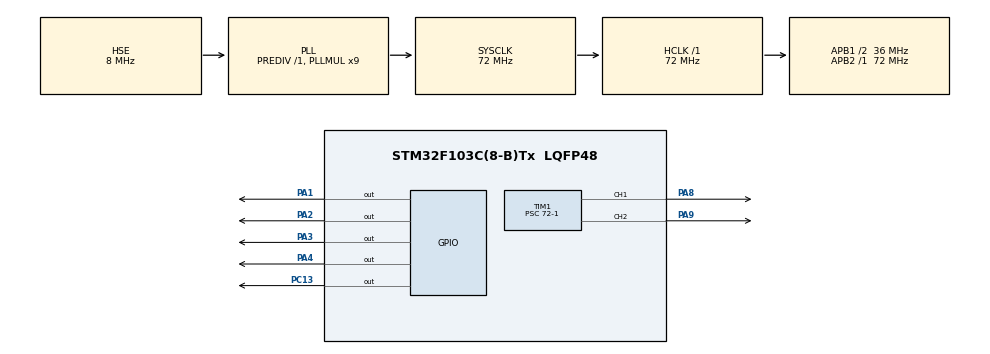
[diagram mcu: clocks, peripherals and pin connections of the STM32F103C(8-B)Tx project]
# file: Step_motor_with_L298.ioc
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Mcu.Family=STM32F1
Mcu.Name=STM32F103C(8-B)Tx
Mcu.Package=LQFP48
NVIC.PriorityGroup=NVIC_PRIORITYGROUP_4
PA1.Signal=GPIO_Output
PA13.Mode=Serial_Wire
PA13.Signal=SYS_JTMS-SWDIO
PA14.Mode=Serial_Wire
PA14.Signal=SYS_JTCK-SWCLK
PA2.Signal=GPIO_Output
PA3.Signal=GPIO_Output
PA4.Signal=GPIO_Output
PA8.Signal=S_TIM1_CH1
PA9.Signal=S_TIM1_CH2
PC13-TAMPER-RTC.Signal=GPIO_Output
PD0-OSC_IN.Mode=HSE-External-Oscillator
PD0-OSC_IN.Signal=RCC_OSC_IN
PD1-OSC_OUT.Mode=HSE-External-Oscillator
PD1-OSC_OUT.Signal=RCC_OSC_OUT
ProjectManager.HeapSize=0x200
ProjectManager.StackSize=0x400
ProjectManager.TargetToolchain=MDK-ARM V5.32
RCC.AHBFreq_Value=72000000
RCC.APB1CLKDivider=RCC_HCLK_DIV2
RCC.APB1Freq_Value=36000000
RCC.APB1TimFreq_Value=72000000
RCC.APB2Freq_Value=72000000
RCC.APB2TimFreq_Value=72000000
RCC.HCLKFreq_Value=72000000
RCC.PLLMUL=RCC_PLL_MUL9
RCC.PLLSourceVirtual=RCC_PLLSOURCE_HSE
RCC.SYSCLKFreq_VALUE=72000000
RCC.SYSCLKSource=RCC_SYSCLKSOURCE_PLLCLK
RCC.USBFreq_Value=72000000
SH.S_TIM1_CH1.0=TIM1_CH1,PWM Generation1 CH1
SH.S_TIM1_CH2.0=TIM1_CH2,PWM Generation2 CH2
TIM1.Channel-PWM\ Generation1\ CH1=TIM_CHANNEL_1
TIM1.Channel-PWM\ Generation2\ CH2=TIM_CHANNEL_2
TIM1.Period=0xffff - 1
TIM1.Prescaler=72-1
TIM2.Period=0xffff - 1
TIM2.Prescaler=72-1
VP_TIM1_VS_ClockSourceINT.Mode=Internal
VP_TIM2_VS_ClockSourceINT.Mode=Internal
board=custom

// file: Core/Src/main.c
/* USER CODE BEGIN Header */
/**
  ******************************************************************************
  * @file           : main.c
  * @brief          : Main program body
  ******************************************************************************
  * @attention
  *
  * Copyright (c) 2024 STMicroelectronics.
  * All rights reserved.
  *
  * This software is licensed under terms that can be found in the LICENSE file
  * in the root directory of this software component.
  * If no LICENSE file comes with this software, it is provided AS-IS.
  *
  ******************************************************************************
  */
/* USER CODE END Header */
#include "main.h"

/* USER CODE BEGIN PM */
#define StepPerRev 200
/* USER CODE END PM */

TIM_HandleTypeDef htim1;
TIM_HandleTypeDef htim2;

void SystemClock_Config(void);
static void MX_GPIO_Init(void);
static void MX_TIM1_Init(void);
static void MX_TIM2_Init(void);

/* USER CODE BEGIN 0 */
#define IN1_PIN GPIO_PIN_4
#define IN1_PORT GPIOA
#define IN2_PIN GPIO_PIN_3
#define IN2_PORT GPIOA
#define IN3_PIN GPIO_PIN_2
#define IN3_PORT GPIOA
#define IN4_PIN GPIO_PIN_1
#define IN4_PORT GPIOA
const uint8_t STEP_SEQUENCE[] = {0x0A, 0x06, 0x05, 0x09};
uint32_t micro_step_arry_1[8] = {20,38,56,70,83,92,98,100};
														  //95.6   98   99.5   100
uint32_t micro_step_arry_2[8] = {98,92,83,70,56,38,20,0};
															 //56    47    38    29    20    9.8  0
uint8_t dem = 0;
void delay (uint16_t us)
{
	__HAL_TIM_SET_COUNTER(&htim2, 0);
	while (__HAL_TIM_GET_COUNTER(&htim2) < us);
}
void control_pwm(TIM_HandleTypeDef *timer, uint32_t channel,
                uint32_t *pwm_values, float delay_time) {
    for(int i = 0; i < 8; i++) {
        __HAL_TIM_SET_COMPARE(timer, channel, pwm_values[i]);
        __HAL_TIM_SET_COUNTER(&htim1, 0);
        while(__HAL_TIM_GET_COUNTER(&htim1) < delay_time) {}
    }
}
/*-------------------------Set speed for motor--------------------------------------*/
void stepper_set_rpm (int rpm)
{
	delay(60000000/StepPerRev/rpm);
}
void stepper_half_set_rpm (int rpm)
{
	delay(60000000/(StepPerRev*2)/rpm);
}
/*-------------------------Set step---------------------------------------*/
void stepper_full_drive_1phaON (int step)
{
	__HAL_TIM_SET_COMPARE(&htim1, TIM_CHANNEL_2, 100);
  __HAL_TIM_SET_COMPARE(&htim1, TIM_CHANNEL_1, 100);
	switch (step)
	{
		case 0:
			HAL_GPIO_WritePin(IN1_PORT, IN1_PIN, GPIO_PIN_SET);   // IN1
			HAL_GPIO_WritePin(IN2_PORT, IN2_PIN, GPIO_PIN_RESET); // IN2
			HAL_GPIO_WritePin(IN3_PORT, IN3_PIN, GPIO_PIN_RESET); // IN3
			HAL_GPIO_WritePin(IN4_PORT, IN4_PIN, GPIO_PIN_RESET); // IN4
			break;
		case 1:
			HAL_GPIO_WritePin(IN1_PORT, IN1_PIN, GPIO_PIN_RESET); // IN1
			HAL_GPIO_WritePin(IN2_PORT, IN2_PIN, GPIO_PIN_RESET); // IN2
			HAL_GPIO_WritePin(IN3_PORT, IN3_PIN, GPIO_PIN_SET);   // IN3
			HAL_GPIO_WritePin(IN4_PORT, IN4_PIN, GPIO_PIN_RESET); // IN4
			break;
		case 2:
			HAL_GPIO_WritePin(IN1_PORT, IN1_PIN, GPIO_PIN_RESET); // IN1
			HAL_GPIO_WritePin(IN2_PORT, IN2_PIN, GPIO_PIN_SET); // IN2
			HAL_GPIO_WritePin(IN3_PORT, IN3_PIN, GPIO_PIN_RESET);   // IN3
			HAL_GPIO_WritePin(IN4_PORT, IN4_PIN, GPIO_PIN_RESET); // IN4
			break;
		case 3:
			HAL_GPIO_WritePin(IN1_PORT, IN1_PIN, GPIO_PIN_RESET); // IN1
			HAL_GPIO_WritePin(IN2_PORT, IN2_PIN, GPIO_PIN_RESET); // IN2
			HAL_GPIO_WritePin(IN3_PORT, IN3_PIN, GPIO_PIN_RESET); // IN3
			HAL_GPIO_WritePin(IN4_PORT, IN4_PIN, GPIO_PIN_SET);   // IN4
			break;
	}
}
void stepper_full_drive_2phaON (int step)
{
	__HAL_TIM_SET_COMPARE(&htim1, TIM_CHANNEL_2, 100);
  __HAL_TIM_SET_COMPARE(&htim1, TIM_CHANNEL_1, 100);
	switch (step){
		case 0:
			HAL_GPIO_WritePin(IN1_PORT, IN1_PIN, GPIO_PIN_SET);   // IN1
			HAL_GPIO_WritePin(IN2_PORT, IN2_PIN, GPIO_PIN_RESET); // IN2
			HAL_GPIO_WritePin(IN3_PORT, IN3_PIN, GPIO_PIN_SET);   // IN3
			HAL_GPIO_WritePin(IN4_PORT, IN4_PIN, GPIO_PIN_RESET); // IN4
			break;
		case 1:
			HAL_GPIO_WritePin(IN1_PORT, IN1_PIN, GPIO_PIN_RESET); // IN1
			HAL_GPIO_WritePin(IN2_PORT, IN2_PIN, GPIO_PIN_SET);   // IN2
			HAL_GPIO_WritePin(IN3_PORT, IN3_PIN, GPIO_PIN_SET);   // IN3
			HAL_GPIO_WritePin(IN4_PORT, IN4_PIN, GPIO_PIN_RESET); // IN4
			break;
		case 2:
			HAL_GPIO_WritePin(IN1_PORT, IN1_PIN, GPIO_PIN_RESET); // IN1
			HAL_GPIO_WritePin(IN2_PORT, IN2_PIN, GPIO_PIN_SET);   // IN2
			HAL_GPIO_WritePin(IN3_PORT, IN3_PIN, GPIO_PIN_RESET); // IN3
			HAL_GPIO_WritePin(IN4_PORT, IN4_PIN, GPIO_PIN_SET); // IN4
			break;
		case 3:
			HAL_GPIO_WritePin(IN1_PORT, IN1_PIN, GPIO_PIN_SET);   // IN1
			HAL_GPIO_WritePin(IN2_PORT, IN2_PIN, GPIO_PIN_RESET); // IN2
			HAL_GPIO_WritePin(IN3_PORT, IN3_PIN, GPIO_PIN_RESET); // IN3
			HAL_GPIO_WritePin(IN4_PORT, IN4_PIN, GPIO_PIN_SET);   // IN4
			break;
	}
}
void stepper_half_drive (int step)
{
	__HAL_TIM_SET_COMPARE(&htim1, TIM_CHANNEL_2, 100);
  __HAL_TIM_SET_COMPARE(&htim1, TIM_CHANNEL_1, 100);
	switch (step){
		case 0:
			HAL_GPIO_WritePin(IN1_PORT, IN1_PIN, GPIO_PIN_SET);   // IN1
			HAL_GPIO_WritePin(IN2_PORT, IN2_PIN, GPIO_PIN_RESET); // IN2
			HAL_GPIO_WritePin(IN3_PORT, IN3_PIN, GPIO_PIN_RESET); // IN3
			HAL_GPIO_WritePin(IN4_PORT, IN4_PIN, GPIO_PIN_RESET); // IN4
			break;
		case 1:
			HAL_GPIO_WritePin(IN1_PORT, IN1_PIN, GPIO_PIN_SET);   // IN1
			HAL_GPIO_WritePin(IN2_PORT, IN2_PIN, GPIO_PIN_RESET); // IN2
			HAL_GPIO_WritePin(IN3_PORT, IN3_PIN, GPIO_PIN_SET);   // IN3
			HAL_GPIO_WritePin(IN4_PORT, IN4_PIN, GPIO_PIN_RESET); // IN4
			break;
		case 2:
			HAL_GPIO_WritePin(IN1_PORT, IN1_PIN, GPIO_PIN_RESET); // IN1
			HAL_GPIO_WritePin(IN2_PORT, IN2_PIN, GPIO_PIN_RESET); // IN2
			HAL_GPIO_WritePin(IN3_PORT, IN3_PIN, GPIO_PIN_SET);   // IN3
			HAL_GPIO_WritePin(IN4_PORT, IN4_PIN, GPIO_PIN_RESET); // IN4
			break;
		case 3:
			HAL_GPIO_WritePin(IN1_PORT, IN1_PIN, GPIO_PIN_RESET); // IN1
			HAL_GPIO_WritePin(IN2_PORT, IN2_PIN, GPIO_PIN_SET);   // IN2
			HAL_GPIO_WritePin(IN3_PORT, IN3_PIN, GPIO_PIN_SET);   // IN3
			HAL_GPIO_WritePin(IN4_PORT, IN4_PIN, GPIO_PIN_RESET); // IN4
			break;
		case 4:
			HAL_GPIO_WritePin(IN1_PORT, IN1_PIN, GPIO_PIN_RESET); // IN1
			HAL_GPIO_WritePin(IN2_PORT, IN2_PIN, GPIO_PIN_SET);   // IN2
			HAL_GPIO_WritePin(IN3_PORT, IN3_PIN, GPIO_PIN_RESET); // IN3
			HAL_GPIO_WritePin(IN4_PORT, IN4_PIN, GPIO_PIN_RESET); // IN4
			break;
		case 5:
			HAL_GPIO_WritePin(IN1_PORT, IN1_PIN, GPIO_PIN_RESET); // IN1
			HAL_GPIO_WritePin(IN2_PORT, IN2_PIN, GPIO_PIN_SET);   // IN2
			HAL_GPIO_WritePin(IN3_PORT, IN3_PIN, GPIO_PIN_RESET); // IN3
			HAL_GPIO_WritePin(IN4_PORT, IN4_PIN, GPIO_PIN_SET);   // IN4
			break;
		case 6:
			HAL_GPIO_WritePin(IN1_PORT, IN1_PIN, GPIO_PIN_RESET); // IN1
			HAL_GPIO_WritePin(IN2_PORT, IN2_PIN, GPIO_PIN_RESET); // IN2
			HAL_GPIO_WritePin(IN3_PORT, IN3_PIN, GPIO_PIN_RESET); // IN3
			HAL_GPIO_WritePin(IN4_PORT, IN4_PIN, GPIO_PIN_SET);   // IN4
			break;
		case 7:
			HAL_GPIO_WritePin(IN1_PORT, IN1_PIN, GPIO_PIN_SET);   // IN1
			HAL_GPIO_WritePin(IN2_PORT, IN2_PIN, GPIO_PIN_RESET); // IN2
			HAL_GPIO_WritePin(IN3_PORT, IN3_PIN, GPIO_PIN_RESET); // IN3
			HAL_GPIO_WritePin(IN4_PORT, IN4_PIN, GPIO_PIN_SET);   // IN4
			break;
	}
}
void micro_step(float rpm)
{
    float t = 60000000/(StepPerRev*8)/rpm;
    __HAL_TIM_SET_COMPARE(&htim1, TIM_CHANNEL_2, 0);
    __HAL_TIM_SET_COMPARE(&htim1, TIM_CHANNEL_1, 100);

			HAL_GPIO_WritePin(IN1_PORT, IN1_PIN, GPIO_PIN_SET);  // IN1
			HAL_GPIO_WritePin(IN2_PORT, IN2_PIN, GPIO_PIN_RESET);    // IN2
			HAL_GPIO_WritePin(IN3_PORT, IN3_PIN, GPIO_PIN_SET);  // IN3
			HAL_GPIO_WritePin(IN4_PORT, IN4_PIN, GPIO_PIN_RESET);    // IN4

			for(int i = 0; i < 8; i++) {
					__HAL_TIM_SET_COMPARE(&htim1, TIM_CHANNEL_2, micro_step_arry_1[i]); //Tang 3
					delay(t);
			}

			for(int i = 0; i < 8; i++) {
					__HAL_TIM_SET_COMPARE(&htim1, TIM_CHANNEL_1, micro_step_arry_2[i]); //Giam 1
					delay(t);
			}

			HAL_GPIO_WritePin(IN1_PORT, IN1_PIN, GPIO_PIN_RESET);  // IN1
			HAL_GPIO_WritePin(IN2_PORT, IN2_PIN, GPIO_PIN_SET);    // IN2
			HAL_GPIO_WritePin(IN3_PORT, IN3_PIN, GPIO_PIN_SET);  // IN3
			HAL_GPIO_WritePin(IN4_PORT, IN4_PIN, GPIO_PIN_RESET);    // IN4

			for(int i = 0; i < 8; i++) {
					__HAL_TIM_SET_COMPARE(&htim1, TIM_CHANNEL_1, micro_step_arry_1[i]); //Tang 2
					delay(t);
			}

			for(int i = 0; i < 8; i++) {
					__HAL_TIM_SET_COMPARE(&htim1, TIM_CHANNEL_2, micro_step_arry_2[i]); //Giam 3
					delay(t);
			}

			HAL_GPIO_WritePin(IN1_PORT, IN1_PIN, GPIO_PIN_RESET);  // IN1
			HAL_GPIO_WritePin(IN2_PORT, IN2_PIN, GPIO_PIN_SET);    // IN2
			HAL_GPIO_WritePin(IN3_PORT, IN3_PIN, GPIO_PIN_RESET);  // IN3
			HAL_GPIO_WritePin(IN4_PORT, IN4_PIN, GPIO_PIN_SET);    // IN4

			for(int i = 0; i < 8; i++) {
					__HAL_TIM_SET_COMPARE(&htim1, TIM_CHANNEL_2, micro_step_arry_1[i]); //Tang 4
					delay(t);
			}

			for(int i = 0; i < 8; i++) {
					__HAL_TIM_SET_COMPARE(&htim1, TIM_CHANNEL_1, micro_step_arry_2[i]);
					delay(t);
			}

			HAL_GPIO_WritePin(IN1_PORT, IN1_PIN, GPIO_PIN_SET);    // IN1
			HAL_GPIO_WritePin(IN2_PORT, IN2_PIN, GPIO_PIN_RESET);  // IN2
			HAL_GPIO_WritePin(IN3_PORT, IN3_PIN, GPIO_PIN_RESET);  // IN3
			HAL_GPIO_WritePin(IN4_PORT, IN4_PIN, GPIO_PIN_SET);    // IN4

			for(int i = 0; i < 8; i++) {
					__HAL_TIM_SET_COMPARE(&htim1, TIM_CHANNEL_1, micro_step_arry_1[i]);
					delay(t);
			}

			for(int i = 0; i < 8; i++) {
					__HAL_TIM_SET_COMPARE(&htim1, TIM_CHANNEL_2, micro_step_arry_2[i]);
					delay(t);
			}
}
void micro_step_2(int step, float rpm)
{
    float t = 60000000/(StepPerRev*8)/rpm;
    __HAL_TIM_SET_COMPARE(&htim1, TIM_CHANNEL_2, 0);
    __HAL_TIM_SET_COMPARE(&htim1, TIM_CHANNEL_1, 100);

    switch(step){
      case 0:
				HAL_GPIO_WritePin(IN1_PORT, IN1_PIN, GPIO_PIN_SET);  // IN1
				HAL_GPIO_WritePin(IN2_PORT, IN2_PIN, GPIO_PIN_RESET);    // IN2
				HAL_GPIO_WritePin(IN3_PORT, IN3_PIN, GPIO_PIN_SET);  // IN3
				HAL_GPIO_WritePin(IN4_PORT, IN4_PIN, GPIO_PIN_RESET);    // IN4

				for(int i = 0; i < 8; i++) {
						__HAL_TIM_SET_COMPARE(&htim1, TIM_CHANNEL_2, micro_step_arry_1[i]); //Tang 3
						delay(t);
				}

				for(int i = 0; i < 8; i++) {
						__HAL_TIM_SET_COMPARE(&htim1, TIM_CHANNEL_1, micro_step_arry_2[i]); //Giam 1
						delay(t);
				}
				break;

      case 1:
				HAL_GPIO_WritePin(IN1_PORT, IN1_PIN, GPIO_PIN_RESET); // IN1
				HAL_GPIO_WritePin(IN2_PORT, IN2_PIN, GPIO_PIN_SET);   // IN2
				HAL_GPIO_WritePin(IN3_PORT, IN3_PIN, GPIO_PIN_SET);   // IN3
				HAL_GPIO_WritePin(IN4_PORT, IN4_PIN, GPIO_PIN_RESET); // IN4

				for(int i = 0; i < 8; i++) {
						__HAL_TIM_SET_COMPARE(&htim1, TIM_CHANNEL_1, micro_step_arry_1[i]); //Tang 2
						delay(t);
				}

				for(int i = 0; i < 8; i++) {
						__HAL_TIM_SET_COMPARE(&htim1, TIM_CHANNEL_2, micro_step_arry_2[i]); //Giam 3
						delay(t);
				}
				break;

      case 2:
				HAL_GPIO_WritePin(IN1_PORT, IN1_PIN, GPIO_PIN_RESET);  // IN1
				HAL_GPIO_WritePin(IN2_PORT, IN2_PIN, GPIO_PIN_SET);    // IN2
				HAL_GPIO_WritePin(IN3_PORT, IN3_PIN, GPIO_PIN_RESET);  // IN3
				HAL_GPIO_WritePin(IN4_PORT, IN4_PIN, GPIO_PIN_SET);    // IN4

				for(int i = 0; i < 8; i++) {
						__HAL_TIM_SET_COMPARE(&htim1, TIM_CHANNEL_2, micro_step_arry_1[i]); //Tang 4
						delay(t);
				}

				for(int i = 0; i < 8; i++) {
						__HAL_TIM_SET_COMPARE(&htim1, TIM_CHANNEL_1, micro_step_arry_2[i]);
						delay(t);
				}
				break;

      case 3:
				HAL_GPIO_WritePin(IN1_PORT, IN1_PIN, GPIO_PIN_SET);    // IN1
				HAL_GPIO_WritePin(IN2_PORT, IN2_PIN, GPIO_PIN_RESET);  // IN2
				HAL_GPIO_WritePin(IN3_PORT, IN3_PIN, GPIO_PIN_RESET);  // IN3
				HAL_GPIO_WritePin(IN4_PORT, IN4_PIN, GPIO_PIN_SET);    // IN4

				for(int i = 0; i < 8; i++) {
						__HAL_TIM_SET_COMPARE(&htim1, TIM_CHANNEL_1, micro_step_arry_1[i]);
						delay(t);
				}

				for(int i = 0; i < 8; i++) {
						__HAL_TIM_SET_COMPARE(&htim1, TIM_CHANNEL_2, micro_step_arry_2[i]);
						delay(t);
				}
				break;
    }
}
void motorOff()
{
    // Switch off the idle current to the motor
    // Otherwise L298N module will heat up
    HAL_GPIO_WritePin(IN1_PORT, IN1_PIN, GPIO_PIN_RESET); // IN1
    HAL_GPIO_WritePin(IN2_PORT, IN2_PIN, GPIO_PIN_RESET); // IN2
    HAL_GPIO_WritePin(IN3_PORT, IN3_PIN, GPIO_PIN_RESET); // IN3
    HAL_GPIO_WritePin(IN4_PORT, IN4_PIN, GPIO_PIN_RESET); // IN4
}
/*------------------------Control motor revolutions-----------------------*/
void stepper_step_angle_full_1phaON(float angle, int direction, int rpm) // direction -> 0 for CW, 1 for CCW
{
    float step_angle = 1.8;
    int total_steps = (int)(angle / step_angle);

    for (int step = 0; step < total_steps; step++)
    {
        if (direction == 0)  //CW
        {
            stepper_full_drive_1phaON(step % 4);
        }
        else if (direction == 1)  // CCW
        {
            stepper_full_drive_1phaON(3 - (step % 4));
        }

        stepper_set_rpm(rpm);
    }
}
void stepper_step_angle_full_2phaON(float angle, int direction, int rpm) // direction -> 0 for CW, 1 for CCW
{
    float step_angle = 1.8;
    int total_steps = (int)(angle / step_angle);

    for (int step = 0; step < total_steps; step++)
    {
        if (direction == 0)  //CW
        {
            stepper_full_drive_2phaON(step % 4);
        }
        else if (direction == 1)  // CCW
        {
            stepper_full_drive_2phaON(3 - (step % 4));
        }

        stepper_set_rpm(rpm);
    }
}
void stepper_step_angle_half(float angle, int direction, int rpm) // direction -> 0 for CW, 1 for CCW
{
    float step_angle = 0.9;
    int total_steps = (int)(angle / step_angle);

    for (int step = 0; step < total_steps; step++)
    {
        if (direction == 0)  //CW
        {
            stepper_half_drive(step % 8);
        }
        else if (direction == 1)  // CCW
        {
            stepper_half_drive(7 - (step % 8));
        }

        stepper_half_set_rpm(rpm);
    }
}
void stepper_step_angle_micro(float angle, int direction, int rpm) // direction -> 0 for CW, 1 for CCW
{
    float step_angle = 1.8;
    int total_steps = (int)(angle / step_angle);

    for (int step = 0; step < total_steps; step++)
    {
        if (direction == 0)  //CW
        {
            micro_step_2(step % 4, rpm);
        }
        else if (direction == 1)  // CCW
        {
            micro_step_2((3 - (step % 4)), rpm);
        }

    }
}
/* USER CODE END 0 */

int main(void)
{

  /* MCU Configuration--------------------------------------------------------*/

  /* Reset of all peripherals, Initializes the Flash interface and the Systick. */
  HAL_Init();

  /* Configure the system clock */
  SystemClock_Config();

  /* Initialize all configured peripherals */
  MX_GPIO_Init();
  MX_TIM1_Init();
  MX_TIM2_Init();
  /* USER CODE BEGIN 2 */
	HAL_TIM_PWM_Start(&htim1,TIM_CHANNEL_1);
	HAL_TIM_PWM_Start(&htim1,TIM_CHANNEL_2);
	HAL_TIM_Base_Start(&htim1);
	HAL_TIM_Base_Start(&htim2);
  /* USER CODE END 2 */

  /* Infinite loop */
  while (1)
  {

    /* USER CODE BEGIN 3 */
		micro_step(400);
//		stepper_step_angle_half(180, 0, 100);
//		HAL_Delay(2000);
	}
  /* USER CODE END 3 */
}

void SystemClock_Config(void)
{
  RCC_OscInitTypeDef RCC_OscInitStruct = {0};
  RCC_ClkInitTypeDef RCC_ClkInitStruct = {0};

  /** Initializes the RCC Oscillators according to the specified parameters
  * in the RCC_OscInitTypeDef structure.
  */
  RCC_OscInitStruct.OscillatorType = RCC_OSCILLATORTYPE_HSE;
  RCC_OscInitStruct.HSEState = RCC_HSE_ON;
  RCC_OscInitStruct.HSEPredivValue = RCC_HSE_PREDIV_DIV1;
  RCC_OscInitStruct.HSIState = RCC_HSI_ON;
  RCC_OscInitStruct.PLL.PLLState = RCC_PLL_ON;
  RCC_OscInitStruct.PLL.PLLSource = RCC_PLLSOURCE_HSE;
  RCC_OscInitStruct.PLL.PLLMUL = RCC_PLL_MUL9;
  if (HAL_RCC_OscConfig(&RCC_OscInitStruct) != HAL_OK)
  {
    Error_Handler();
  }

  /** Initializes the CPU, AHB and APB buses clocks
  */
  RCC_ClkInitStruct.ClockType = RCC_CLOCKTYPE_HCLK|RCC_CLOCKTYPE_SYSCLK
                              |RCC_CLOCKTYPE_PCLK1|RCC_CLOCKTYPE_PCLK2;
  RCC_ClkInitStruct.SYSCLKSource = RCC_SYSCLKSOURCE_PLLCLK;
  RCC_ClkInitStruct.AHBCLKDivider = RCC_SYSCLK_DIV1;
  RCC_ClkInitStruct.APB1CLKDivider = RCC_HCLK_DIV2;
  RCC_ClkInitStruct.APB2CLKDivider = RCC_HCLK_DIV1;

  if (HAL_RCC_ClockConfig(&RCC_ClkInitStruct, FLASH_LATENCY_2) != HAL_OK)
  {
    Error_Handler();
  }
}

static void MX_TIM1_Init(void)
{

  TIM_ClockConfigTypeDef sClockSourceConfig = {0};
  TIM_MasterConfigTypeDef sMasterConfig = {0};
  TIM_OC_InitTypeDef sConfigOC = {0};
  TIM_BreakDeadTimeConfigTypeDef sBreakDeadTimeConfig = {0};

  htim1.Instance = TIM1;
  htim1.Init.Prescaler = 720-1;
  htim1.Init.CounterMode = TIM_COUNTERMODE_UP;
  htim1.Init.Period = 100 - 1;
  htim1.Init.ClockDivision = TIM_CLOCKDIVISION_DIV1;
  htim1.Init.RepetitionCounter = 0;
  htim1.Init.AutoReloadPreload = TIM_AUTORELOAD_PRELOAD_DISABLE;
  if (HAL_TIM_Base_Init(&htim1) != HAL_OK)
  {
    Error_Handler();
  }
  sClockSourceConfig.ClockSource = TIM_CLOCKSOURCE_INTERNAL;
  if (HAL_TIM_ConfigClockSource(&htim1, &sClockSourceConfig) != HAL_OK)
  {
    Error_Handler();
  }
  if (HAL_TIM_PWM_Init(&htim1) != HAL_OK)
  {
    Error_Handler();
  }
  sMasterConfig.MasterOutputTrigger = TIM_TRGO_RESET;
  sMasterConfig.MasterSlaveMode = TIM_MASTERSLAVEMODE_DISABLE;
  if (HAL_TIMEx_MasterConfigSynchronization(&htim1, &sMasterConfig) != HAL_OK)
  {
    Error_Handler();
  }
  sConfigOC.OCMode = TIM_OCMODE_PWM1;
  sConfigOC.Pulse = 0;
  sConfigOC.OCPolarity = TIM_OCPOLARITY_HIGH;
  sConfigOC.OCNPolarity = TIM_OCNPOLARITY_HIGH;
  sConfigOC.OCFastMode = TIM_OCFAST_DISABLE;
  sConfigOC.OCIdleState = TIM_OCIDLESTATE_RESET;
  sConfigOC.OCNIdleState = TIM_OCNIDLESTATE_RESET;
  if (HAL_TIM_PWM_ConfigChannel(&htim1, &sConfigOC, TIM_CHANNEL_1) != HAL_OK)
  {
    Error_Handler();
  }
  if (HAL_TIM_PWM_ConfigChannel(&htim1, &sConfigOC, TIM_CHANNEL_2) != HAL_OK)
  {
    Error_Handler();
  }
  sBreakDeadTimeConfig.OffStateRunMode = TIM_OSSR_DISABLE;
  sBreakDeadTimeConfig.OffStateIDLEMode = TIM_OSSI_DISABLE;
  sBreakDeadTimeConfig.LockLevel = TIM_LOCKLEVEL_OFF;
  sBreakDeadTimeConfig.DeadTime = 0;
  sBreakDeadTimeConfig.BreakState = TIM_BREAK_DISABLE;
  sBreakDeadTimeConfig.BreakPolarity = TIM_BREAKPOLARITY_HIGH;
  sBreakDeadTimeConfig.AutomaticOutput = TIM_AUTOMATICOUTPUT_DISABLE;
  if (HAL_TIMEx_ConfigBreakDeadTime(&htim1, &sBreakDeadTimeConfig) != HAL_OK)
  {
    Error_Handler();
  }
  HAL_TIM_MspPostInit(&htim1);

}

static void MX_TIM2_Init(void)
{

  TIM_ClockConfigTypeDef sClockSourceConfig = {0};
  TIM_MasterConfigTypeDef sMasterConfig = {0};

  htim2.Instance = TIM2;
  htim2.Init.Prescaler = 72-1;
  htim2.Init.CounterMode = TIM_COUNTERMODE_UP;
  htim2.Init.Period = 0xffff - 1;
  htim2.Init.ClockDivision = TIM_CLOCKDIVISION_DIV1;
  htim2.Init.AutoReloadPreload = TIM_AUTORELOAD_PRELOAD_DISABLE;
  if (HAL_TIM_Base_Init(&htim2) != HAL_OK)
  {
    Error_Handler();
  }
  sClockSourceConfig.ClockSource = TIM_CLOCKSOURCE_INTERNAL;
  if (HAL_TIM_ConfigClockSource(&htim2, &sClockSourceConfig) != HAL_OK)
  {
    Error_Handler();
  }
  sMasterConfig.MasterOutputTrigger = TIM_TRGO_RESET;
  sMasterConfig.MasterSlaveMode = TIM_MASTERSLAVEMODE_DISABLE;
  if (HAL_TIMEx_MasterConfigSynchronization(&htim2, &sMasterConfig) != HAL_OK)
  {
    Error_Handler();
  }

}

static void MX_GPIO_Init(void)
{
  GPIO_InitTypeDef GPIO_InitStruct = {0};

  /* GPIO Ports Clock Enable */
  __HAL_RCC_GPIOC_CLK_ENABLE();
  __HAL_RCC_GPIOD_CLK_ENABLE();
  __HAL_RCC_GPIOA_CLK_ENABLE();

  /*Configure GPIO pin Output Level */
  HAL_GPIO_WritePin(GPIOC, GPIO_PIN_13, GPIO_PIN_RESET);

  /*Configure GPIO pin Output Level */
  HAL_GPIO_WritePin(GPIOA, GPIO_PIN_1|GPIO_PIN_2|GPIO_PIN_3|GPIO_PIN_4, GPIO_PIN_RESET);

  /*Configure GPIO pin : PC13 */
  GPIO_InitStruct.Pin = GPIO_PIN_13;
  GPIO_InitStruct.Mode = GPIO_MODE_OUTPUT_PP;
  GPIO_InitStruct.Pull = GPIO_NOPULL;
  GPIO_InitStruct.Speed = GPIO_SPEED_FREQ_LOW;
  HAL_GPIO_Init(GPIOC, &GPIO_InitStruct);

  /*Configure GPIO pins : PA1 PA2 PA3 PA4 */
  GPIO_InitStruct.Pin = GPIO_PIN_1|GPIO_PIN_2|GPIO_PIN_3|GPIO_PIN_4;
  GPIO_InitStruct.Mode = GPIO_MODE_OUTPUT_PP;
  GPIO_InitStruct.Pull = GPIO_NOPULL;
  GPIO_InitStruct.Speed = GPIO_SPEED_FREQ_LOW;
  HAL_GPIO_Init(GPIOA, &GPIO_InitStruct);

}

void Error_Handler(void)
{
  __disable_irq();
  while (1)
  {
  }
}
